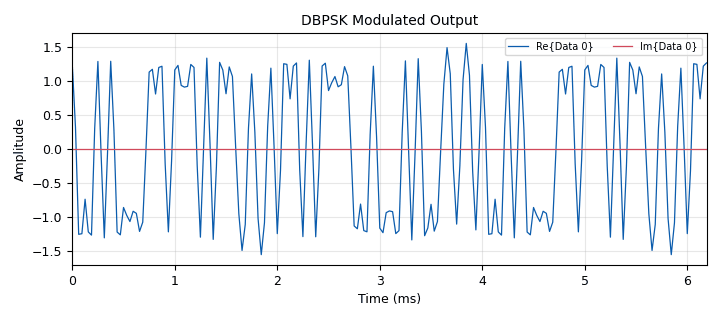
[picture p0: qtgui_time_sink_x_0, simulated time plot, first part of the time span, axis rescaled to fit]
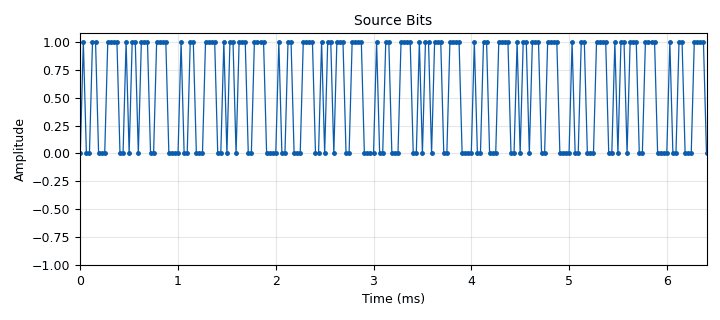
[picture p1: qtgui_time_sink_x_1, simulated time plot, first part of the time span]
<?xml version='1.0' encoding='utf-8'?>
<?grc format='1' created='3.7.11'?>
<flow_graph>
<block>
<key>options</key>
<param><key>id</key><value>top_block</value></param>
<param><key>generate_options</key><value>qt_gui</value></param>
</block>
<block>
<key>variable</key>
<param><key>id</key><value>samp_rate</value></param>
<param><key>value</key><value>32000</value></param>
</block>
<block>
<key>variable_tag_object</key>
<param><key>id</key><value>tag_L</value></param>
<param><key>comment</key><value>Add L tag to plot</value></param>
<param><key>key</key><value>pmt.intern("L")</value></param>
<param><key>offset</key><value>0</value></param>
<param><key>src</key><value>pmt.intern("Vsrc")</value></param>
<param><key>value</key><value>pmt.intern("0x4C")</value></param>
</block>
<block>
<key>blocks_file_sink</key>
<param><key>id</key><value>blocks_file_sink_0</value></param>
<param><key>file</key><value>/home/diane/repos/sdrgnuradio/dpsk/vector_source/simulation/dpsk_in.bin</value></param>
<param><key>type</key><value>byte</value></param>
</block>
<block>
<key>blocks_file_sink</key>
<param><key>id</key><value>blocks_file_sink_0_0</value></param>
<param><key>file</key><value>/home/diane/repos/sdrgnuradio/dpsk/vector_source/simulation/dpsk_out_modulation.bin</value></param>
<param><key>type</key><value>byte</value></param>
</block>
<block>
<key>blocks_file_sink</key>
<param><key>id</key><value>blocks_file_sink_0_0_0</value></param>
<param><key>file</key><value>/home/diane/repos/sdrgnuradio/dpsk/vector_source/simulation/dpsk_out_packed.bin</value></param>
<param><key>type</key><value>byte</value></param>
</block>
<block>
<key>blocks_packed_to_unpacked_xx</key>
<param><key>id</key><value>blocks_packed_to_unpacked_xx_0</value></param>
<param><key>bits_per_chunk</key><value>1</value></param>
<param><key>endianness</key><value>gr.GR_MSB_FIRST</value></param>
<param><key>type</key><value>byte</value></param>
</block>
<block>
<key>blocks_throttle</key>
<param><key>id</key><value>blocks_throttle_0</value></param>
<param><key>samples_per_second</key><value>samp_rate</value></param>
<param><key>type</key><value>byte</value></param>
</block>
<block>
<key>blocks_uchar_to_float</key>
<param><key>id</key><value>blocks_uchar_to_float_0</value></param>
</block>
<block>
<key>blocks_unpacked_to_packed_xx</key>
<param><key>id</key><value>blocks_unpacked_to_packed_xx_0</value></param>
<param><key>bits_per_chunk</key><value>1</value></param>
<param><key>endianness</key><value>gr.GR_MSB_FIRST</value></param>
<param><key>type</key><value>byte</value></param>
</block>
<block>
<key>blocks_vector_source_x</key>
<param><key>id</key><value>blocks_vector_source_x_0</value></param>
<param><key>comment</key><value>Output type: byte</value></param>
<param><key>type</key><value>byte</value></param>
<param><key>repeat</key><value>True</value></param>
<param><key>tags</key><value>[tag_L]</value></param>
<param><key>vector</key><value>list(ord(i) for i in 'Lynx')</value></param>
</block>
<block>
<key>digital_dxpsk_demod</key>
<param><key>id</key><value>digital_dxpsk_demod_0</value></param>
<param><key>excess_bw</key><value>0.35</value></param>
<param><key>freq_bw</key><value>6.28/100.0</value></param>
<param><key>mod_code</key><value>"gray"</value></param>
<param><key>log</key><value>False</value></param>
<param><key>phase_bw</key><value>6.28/100.0</value></param>
<param><key>samples_per_symbol</key><value>2</value></param>
<param><key>sync_out</key><value>False</value></param>
<param><key>timing_bw</key><value>6.28/100.0</value></param>
<param><key>type</key><value>dbpsk</value></param>
<param><key>verbose</key><value>False</value></param>
</block>
<block>
<key>digital_dxpsk_mod</key>
<param><key>id</key><value>digital_dxpsk_mod_0</value></param>
<param><key>excess_bw</key><value>0.35</value></param>
<param><key>mod_code</key><value>"gray"</value></param>
<param><key>log</key><value>False</value></param>
<param><key>samples_per_symbol</key><value>2</value></param>
<param><key>type</key><value>dbpsk</value></param>
<param><key>verbose</key><value>False</value></param>
</block>
<block>
<key>note</key>
<param><key>id</key><value>note_0</value></param>
<param><key>comment</key><value>Have to unpack byte into bits and convert uchar
to float to plot in time sink</value></param>
<param><key>note</key><value>Branch to plot binary input</value></param>
</block>
<block>
<key>qtgui_time_sink_x</key>
<param><key>id</key><value>qtgui_time_sink_x_0</value></param>
<param><key>color1</key><value>"blue"</value></param>
<param><key>label1</key><value></value></param>
<param><key>color2</key><value>"red"</value></param>
<param><key>label2</key><value></value></param>
<param><key>name</key><value>"DBPSK Modulated Output"</value></param>
<param><key>size</key><value>1024</value></param>
<param><key>srate</key><value>samp_rate</value></param>
<param><key>type</key><value>complex</value></param>
</block>
<block>
<key>qtgui_time_sink_x</key>
<param><key>id</key><value>qtgui_time_sink_x_1</value></param>
<param><key>ctrlpanel</key><value>True</value></param>
<param><key>color1</key><value>"blue"</value></param>
<param><key>label1</key><value></value></param>
<param><key>marker1</key><value>0</value></param>
<param><key>name</key><value>"Source Bits"</value></param>
<param><key>size</key><value>1024</value></param>
<param><key>srate</key><value>samp_rate</value></param>
<param><key>type</key><value>float</value></param>
</block>
<connection><source_block_id>blocks_packed_to_unpacked_xx_0</source_block_id><sink_block_id>blocks_uchar_to_float_0</sink_block_id><source_key>0</source_key><sink_key>0</sink_key></connection>
<connection><source_block_id>blocks_throttle_0</source_block_id><sink_block_id>blocks_file_sink_0</sink_block_id><source_key>0</source_key><sink_key>0</sink_key></connection>
<connection><source_block_id>blocks_throttle_0</source_block_id><sink_block_id>blocks_packed_to_unpacked_xx_0</sink_block_id><source_key>0</source_key><sink_key>0</sink_key></connection>
<connection><source_block_id>blocks_throttle_0</source_block_id><sink_block_id>digital_dxpsk_mod_0</sink_block_id><source_key>0</source_key><sink_key>0</sink_key></connection>
<connection><source_block_id>blocks_uchar_to_float_0</source_block_id><sink_block_id>qtgui_time_sink_x_1</sink_block_id><source_key>0</source_key><sink_key>0</sink_key></connection>
<connection><source_block_id>blocks_unpacked_to_packed_xx_0</source_block_id><sink_block_id>blocks_file_sink_0_0_0</sink_block_id><source_key>0</source_key><sink_key>0</sink_key></connection>
<connection><source_block_id>blocks_vector_source_x_0</source_block_id><sink_block_id>blocks_throttle_0</sink_block_id><source_key>0</source_key><sink_key>0</sink_key></connection>
<connection><source_block_id>digital_dxpsk_demod_0</source_block_id><sink_block_id>blocks_file_sink_0_0</sink_block_id><source_key>0</source_key><sink_key>0</sink_key></connection>
<connection><source_block_id>digital_dxpsk_demod_0</source_block_id><sink_block_id>blocks_unpacked_to_packed_xx_0</sink_block_id><source_key>0</source_key><sink_key>0</sink_key></connection>
<connection><source_block_id>digital_dxpsk_mod_0</source_block_id><sink_block_id>digital_dxpsk_demod_0</sink_block_id><source_key>0</source_key><sink_key>0</sink_key></connection>
<connection><source_block_id>digital_dxpsk_mod_0</source_block_id><sink_block_id>qtgui_time_sink_x_0</sink_block_id><source_key>0</source_key><sink_key>0</sink_key></connection>
</flow_graph>
